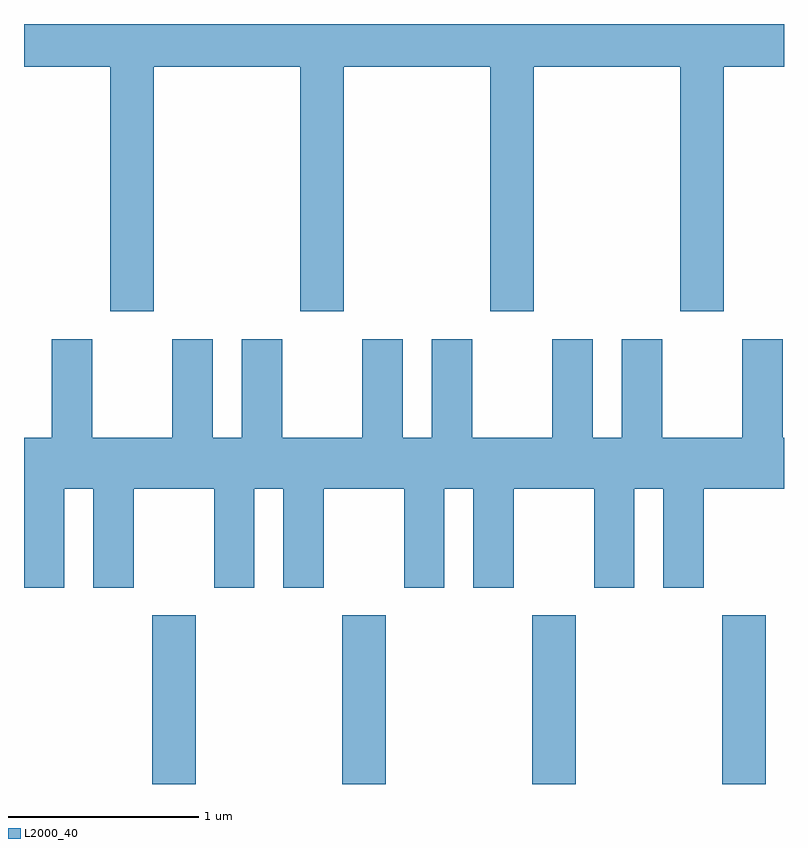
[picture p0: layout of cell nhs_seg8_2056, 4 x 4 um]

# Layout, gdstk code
import gdstk
lib = gdstk.Library(unit=1e-6, precision=1e-09)
def R(c, l, rs):  # rectangles x0, y0, x1, y1
    for r in rs: c.add(gdstk.rectangle(r[:2], r[2:], *l))
def A(c, l, x, y, w, h, nx, ny, dx, dy):  # array of equal rectangles
    R(c, l, [(x+i*dx, y+j*dy, x+i*dx+w, y+j*dy+h) for i in range(nx) for j in range(ny)])
def P(c, l, *ps):  # polygons
    for p in ps: c.add(gdstk.Polygon(p, *l))
L2000_40 = (2000, 40)

nhs_seg8_2056 = lib.new_cell('nhs_seg8_2056')
A(nhs_seg8_2056, L2000_40, 246.286, 1910.342, 0.228, 0.887, 4, 1, 1, 0)
P(nhs_seg8_2056, L2000_40, [(246.294,1914.116),(247.066,1914.116),(247.066,1912.831),(247.294,1912.831),(247.294,1914.116),(248.066,1914.116),(248.066,1912.831),(248.294,1912.831),(248.294,1914.116),(249.066,1914.116),(249.066,1912.831),(249.294,1912.831),(249.294,1914.116),(249.611,1914.116),(249.611,1914.342),(245.611,1914.342),(245.611,1914.116),(246.066,1914.116),(246.066,1912.831),(246.294,1912.831)],
  [(245.824,1911.896),(245.976,1911.896),(245.976,1911.376),(246.189,1911.376),(246.189,1911.896),(246.611,1911.896),(246.611,1911.376),(246.824,1911.376),(246.824,1911.896),(246.976,1911.896),(246.976,1911.376),(247.189,1911.376),(247.189,1911.896),(247.611,1911.896),(247.611,1911.376),(247.824,1911.376),(247.824,1911.896),(247.976,1911.896),(247.976,1911.376),(248.189,1911.376),(248.189,1911.896),(248.611,1911.896),(248.611,1911.376),(248.824,1911.376),(248.824,1911.896),(248.976,1911.896),(248.976,1911.376),(249.189,1911.376),(249.189,1911.896),(249.611,1911.896),(249.611,1912.164),(249.604,1912.164),(249.604,1912.684),(249.391,1912.684),(249.391,1912.164),(248.969,1912.164),(248.969,1912.684),(248.756,1912.684),(248.756,1912.164),(248.604,1912.164),(248.604,1912.684),(248.391,1912.684),(248.391,1912.164),(247.969,1912.164),(247.969,1912.684),(247.756,1912.684),(247.756,1912.164),(247.604,1912.164),(247.604,1912.684),(247.391,1912.684),(247.391,1912.164),(246.969,1912.164),(246.969,1912.684),(246.756,1912.684),(246.756,1912.164),(246.604,1912.164),(246.604,1912.684),(246.391,1912.684),(246.391,1912.164),(245.969,1912.164),(245.969,1912.684),(245.756,1912.684),(245.756,1912.164),(245.611,1912.164),(245.611,1911.376),(245.824,1911.376)])

lib.write_gds('nhs_seg8_2056.gds')
